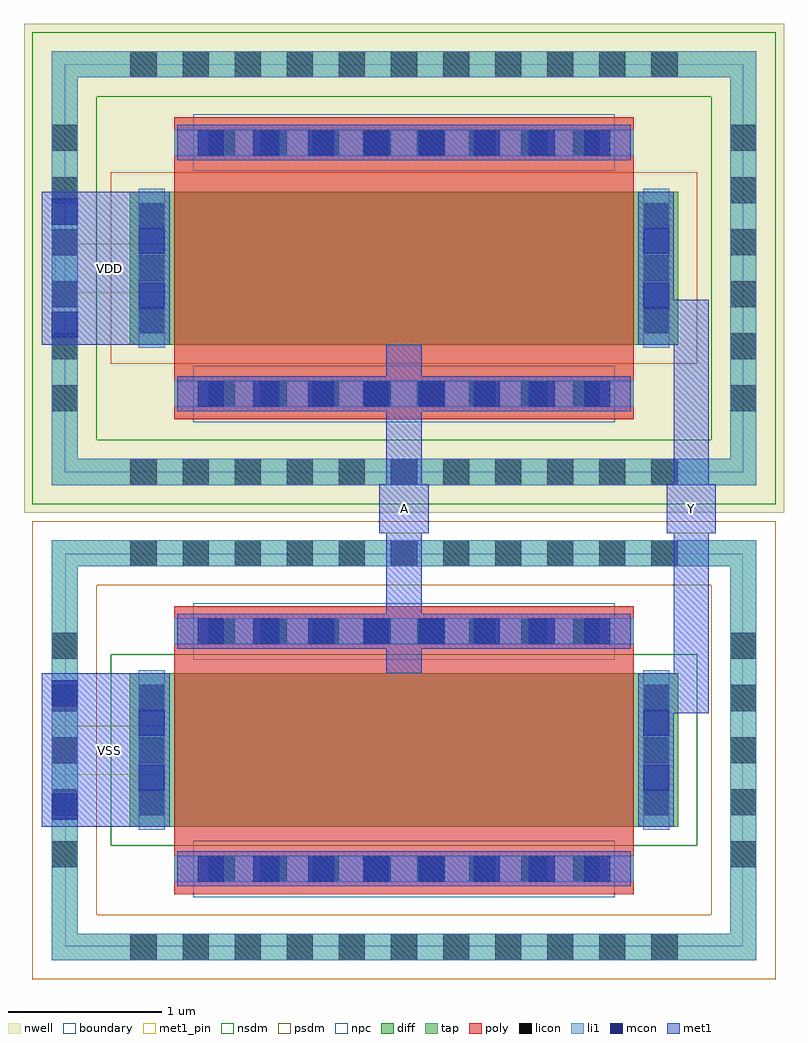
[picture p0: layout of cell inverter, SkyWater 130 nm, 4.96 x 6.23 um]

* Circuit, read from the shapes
.subckt inverter A VDD VSS Y
XM1 Y A VSS VSS sky130_fd_pr__nfet_01v8 w=1 l=3
XM2 Y A VDD VDD sky130_fd_pr__pfet_01v8 w=1 l=3
.ends

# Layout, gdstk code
import gdstk
lib = gdstk.Library(unit=1e-6, precision=1e-09)
def R(c, l, rs):  # rectangles x0, y0, x1, y1
    for r in rs: c.add(gdstk.rectangle(r[:2], r[2:], *l))
def A(c, l, x, y, w, h, nx, ny, dx, dy):  # array of equal rectangles
    R(c, l, [(x+i*dx, y+j*dy, x+i*dx+w, y+j*dy+h) for i in range(nx) for j in range(ny)])
nwell = (64, 20)
diff = (65, 20)
tap = (65, 44)
poly = (66, 20)
licon = (66, 44)
li1 = (67, 20)
mcon = (67, 44)
met1_pin = (68, 16)
met1 = (68, 20)
nsdm = (93, 44)
psdm = (94, 20)
npc = (95, 20)
boundary = (235, 4)

sky130_fd_pr__pfet_01v8_ = lib.new_cell('sky130_fd_pr__pfet_01v8_29FY9H')
R(sky130_fd_pr__pfet_01v8_, nwell, [(-2.48,-1.595,2.48,1.595)])
R(sky130_fd_pr__pfet_01v8_, diff, [(-1.79,-0.5,1.79,0.5)])
R(sky130_fd_pr__pfet_01v8_, tap, [(-2.3,-1.415,2.3,-1.245), (-2.3,-1.245,-2.13,1.245), (2.13,-1.245,2.3,1.245), (-2.3,1.245,2.3,1.415)])
R(sky130_fd_pr__pfet_01v8_, poly, [(-1.5,-0.985,1.5,0.985)])
A(sky130_fd_pr__pfet_01v8_, licon, -1.785, -1.415, 0.17, 0.17, 11, 2, 0.34, 2.66)
A(sky130_fd_pr__pfet_01v8_, licon, -2.3, -0.935, 0.17, 0.17, 1, 6, 0, 0.34)
A(sky130_fd_pr__pfet_01v8_, licon, 2.13, -0.935, 0.17, 0.17, 1, 6, 0, 0.34)
A(sky130_fd_pr__pfet_01v8_, licon, -1.275, -0.905, 0.17, 0.17, 8, 2, 0.34, 1.64)
A(sky130_fd_pr__pfet_01v8_, licon, -1.73, -0.425, 0.17, 0.17, 1, 3, 0, 0.34)
A(sky130_fd_pr__pfet_01v8_, licon, 1.56, -0.425, 0.17, 0.17, 1, 3, 0, 0.34)
R(sky130_fd_pr__pfet_01v8_, li1, [(-2.3,-1.415,2.3,-1.245), (-2.3,-1.245,-2.13,1.245), (2.13,-1.245,2.3,1.245), (-1.5,-0.905,1.5,-0.735), (-1.73,-0.52,-1.56,0.52), (1.56,-0.52,1.73,0.52), (-1.5,0.735,1.5,0.905), (-2.3,1.245,2.3,1.415)])
A(sky130_fd_pr__pfet_01v8_, mcon, -1.345, -0.905, 0.17, 0.17, 8, 2, 0.36, 1.64)
R(sky130_fd_pr__pfet_01v8_, mcon, [(-1.73,-0.265,-1.56,-0.095), (1.56,-0.265,1.73,-0.095), (-1.73,0.095,-1.56,0.265), (1.56,0.095,1.73,0.265)])
R(sky130_fd_pr__pfet_01v8_, met1, [(-1.48,-0.935,1.48,-0.705), (-1.76,-0.5,-1.53,0.5), (1.53,-0.5,1.76,0.5), (-1.48,0.705,1.48,0.935)])
R(sky130_fd_pr__pfet_01v8_, nsdm, [(-2.425,-1.54,2.425,-1.12), (-2.425,-1.12,-2.005,1.12), (2.005,-1.12,2.425,1.12), (-2.425,1.12,2.425,1.54)])
R(sky130_fd_pr__pfet_01v8_, psdm, [(-1.915,-0.625,1.915,0.625)])
R(sky130_fd_pr__pfet_01v8_, npc, [(-1.375,-1.005,1.375,-0.635), (-1.375,0.635,1.375,1.005)])
R(sky130_fd_pr__pfet_01v8_, boundary, [(-2.215,-1.33,2.215,1.33)])

sky130_fd_pr__nfet_01v8_ = lib.new_cell('sky130_fd_pr__nfet_01v8_KAAY2V')
R(sky130_fd_pr__nfet_01v8_, diff, [(-1.79,-0.5,1.79,0.5)])
R(sky130_fd_pr__nfet_01v8_, tap, [(-2.3,-1.37,2.3,-1.2), (-2.3,-1.2,-2.13,1.2), (2.13,-1.2,2.3,1.2), (-2.3,1.2,2.3,1.37)])
R(sky130_fd_pr__nfet_01v8_, poly, [(-1.5,-0.94,1.5,0.94)])
A(sky130_fd_pr__nfet_01v8_, licon, -1.785, -1.37, 0.17, 0.17, 11, 2, 0.34, 2.57)
A(sky130_fd_pr__nfet_01v8_, licon, -1.275, -0.86, 0.17, 0.17, 8, 2, 0.34, 1.55)
A(sky130_fd_pr__nfet_01v8_, licon, -2.3, -0.765, 0.17, 0.17, 1, 5, 0, 0.34)
A(sky130_fd_pr__nfet_01v8_, licon, 2.13, -0.765, 0.17, 0.17, 1, 5, 0, 0.34)
A(sky130_fd_pr__nfet_01v8_, licon, -1.73, -0.425, 0.17, 0.17, 1, 3, 0, 0.34)
A(sky130_fd_pr__nfet_01v8_, licon, 1.56, -0.425, 0.17, 0.17, 1, 3, 0, 0.34)
R(sky130_fd_pr__nfet_01v8_, li1, [(-2.3,-1.37,2.3,-1.2), (-2.3,-1.2,-2.13,1.2), (2.13,-1.2,2.3,1.2), (-1.5,-0.86,1.5,-0.69), (-1.73,-0.52,-1.56,0.52), (1.56,-0.52,1.73,0.52), (-1.5,0.69,1.5,0.86), (-2.3,1.2,2.3,1.37)])
A(sky130_fd_pr__nfet_01v8_, mcon, -1.345, -0.86, 0.17, 0.17, 8, 2, 0.36, 1.55)
R(sky130_fd_pr__nfet_01v8_, mcon, [(-1.73,-0.265,-1.56,-0.095), (1.56,-0.265,1.73,-0.095), (-1.73,0.095,-1.56,0.265), (1.56,0.095,1.73,0.265)])
R(sky130_fd_pr__nfet_01v8_, met1, [(-1.48,-0.89,1.48,-0.66), (-1.76,-0.5,-1.53,0.5), (1.53,-0.5,1.76,0.5), (-1.48,0.66,1.48,0.89)])
R(sky130_fd_pr__nfet_01v8_, nsdm, [(-1.915,-0.625,1.915,0.625)])
R(sky130_fd_pr__nfet_01v8_, psdm, [(-2.425,-1.495,2.425,-1.075), (-2.425,-1.075,-2.005,1.075), (2.005,-1.075,2.425,1.075), (-2.425,1.075,2.425,1.495)])
R(sky130_fd_pr__nfet_01v8_, npc, [(-1.375,-0.96,1.375,-0.59), (-1.375,0.59,1.375,0.96)])
R(sky130_fd_pr__nfet_01v8_, boundary, [(-2.21,-1.28,2.21,1.28)])

inverter = lib.new_cell('inverter')
R(inverter, li1, [(0.18,-2.005,0.35,-1.835), (0.18,-1.265,0.35,-1.095), (0.18,1.14,0.35,1.31), (0.18,1.88,0.35,2.05)])
R(inverter, mcon, [(0.18,-2.005,0.35,-1.835), (0.18,-1.265,0.35,-1.095), (0.18,1.14,0.35,1.31), (0.18,1.88,0.35,2.05)])
R(inverter, met1_pin, [(0.2,-1.71,0.92,-1.39), (2.32,-0.135,2.64,0.185), (4.195,-0.135,4.515,0.185), (0.2,1.435,0.92,1.755)])
R(inverter, met1, [(0.115,-2.05,0.95,-1.05), (4.03,-1.31,4.47,-1.05), (2.365,-1.05,2.595,-0.135), (4.24,-1.05,4.47,-0.135), (2.32,-0.135,2.64,0.185), (4.195,-0.135,4.515,0.185), (2.365,0.185,2.595,1.095), (4.24,0.185,4.47,1.13), (0.115,1.095,0.95,2.095), (4.04,1.13,4.47,1.39)])
inverter.add(gdstk.Reference(sky130_fd_pr__pfet_01v8_, (2.48,1.595)))
inverter.add(gdstk.Reference(sky130_fd_pr__nfet_01v8_, (2.48,-1.55)))
inverter.add(gdstk.Label('VSS', (0.56,-1.55), layer=68, texttype=5))
inverter.add(gdstk.Label('VDD', (0.56,1.595), layer=68, texttype=5))
inverter.add(gdstk.Label('Y', (4.355,0.025), layer=68, texttype=5))
inverter.add(gdstk.Label('A', (2.48,0.025), layer=68, texttype=5))

lib.write_gds('inverter.gds')
